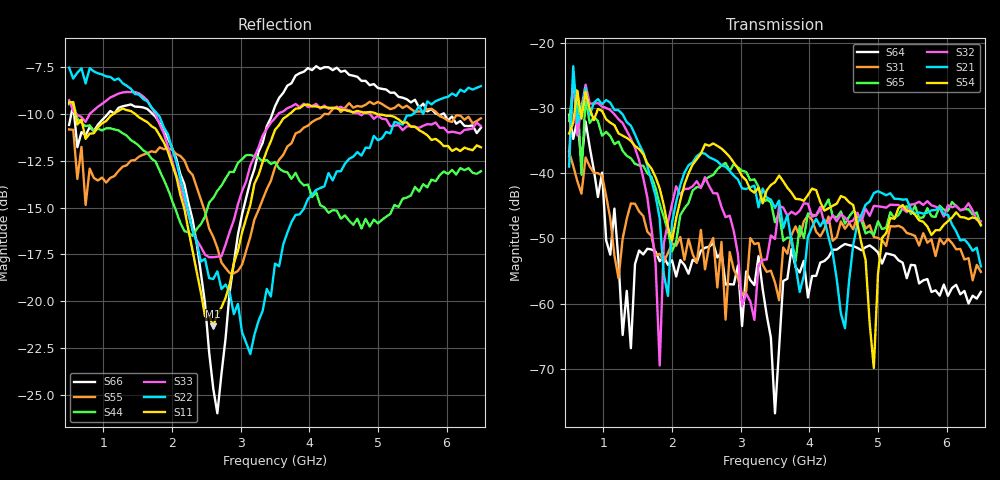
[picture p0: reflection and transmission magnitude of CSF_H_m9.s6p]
!Keysight Technologies,M9804A,MY58100912,A.14.10.03
!Date: Thursday, April 27, 2023 10:28:33
!Correction: S11(C  6-Port  )
!S12(C  6-Port  )
!S13(C  6-Port  )
!S14(C  6-Port  )
!S15(C  6-Port  )
!S16(C  6-Port  )
!S21(C  6-Port  )
!S22(C  6-Port  )
!S23(C  6-Port  )
!S24(C  6-Port  )
!S25(C  6-Port  )
!S26(C  6-Port  )
!S31(C  6-Port  )
!S32(C  6-Port  )
!S33(C  6-Port  )
!S34(C  6-Port  )
!S35(C  6-Port  )
!S36(C  6-Port  )
!S41(C  6-Port  )
!S42(C  6-Port  )
!S43(C  6-Port  )
!S44(C  6-Port  )
!S45(C  6-Port  )
!S46(C  6-Port  )
!S51(C  6-Port  )
!S52(C  6-Port  )
!S53(C  6-Port  )
!S54(C  6-Port  )
!S55(C  6-Port  )
!S56(C  6-Port  )
!S61(C  6-Port  )
!S62(C  6-Port  )
!S63(C  6-Port  )
!S64(C  6-Port  )
!S65(C  6-Port  )
!S66(C  6-Port  )
!S6P File: Measurement: :
# Hz S  RI  R 50
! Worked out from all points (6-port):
!   101 points, 500 MHz to 6.5 GHz, reference 50 ohm
!   strongest paths, dB at 500 MHz, 2 GHz, 3.5 GHz, 5 GHz, 6.5 GHz:
!     S54: -33.9, -50.3, -41.4, -55.6, -47.9
!     S21: -39.0, -47.5, -45.3, -42.8, -54.3
!     S32: -37.5, -44.7, -50.1, -45.1, -47.4
!     S65: -32.0, -52.0, -47.5, -47.4, -48.0
!     S31: -36.7, -50.8, -56.7, -49.9, -55.1
!     S64: -31.0, -53.4, -76.8, -52.1, -58.2
!   lowest |S11| = -21.3 dB at 2.6 GHz (marker M1), VSWR 1.19, Z = 42.4 + j2.28 ohm
!   |S11| at or under -10 dB: 592.3 MHz to 1.141 GHz (548.4 MHz wide, 63.3 % of centre); 1.465 GHz to 3.709 GHz (2.244 GHz wide, 86.8 % of centre); 4.991 GHz to end of sweep
